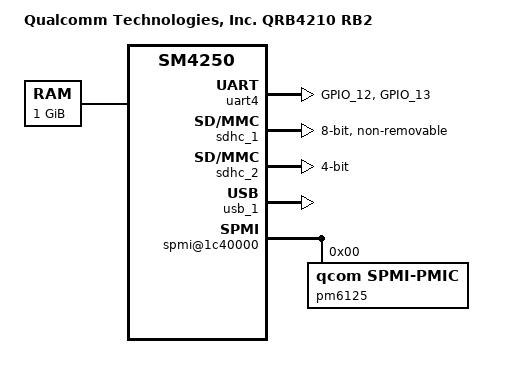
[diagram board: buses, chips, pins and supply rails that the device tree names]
// SPDX-License-Identifier: GPL-2.0+
/*
 * Qualcomm QRB4210-RB2 evaluation board device tree source
 *
 * (C) Copyright 2023 Bhupesh Sharma <bhupesh.sharma@linaro.org>
 */

/dts-v1/;

#include <dt-bindings/clock/qcom,gcc-sm6115.h>

/ {
	model = "Qualcomm Technologies, Inc. QRB4210 RB2";
	compatible = "qcom,qrb4210-rb2", "qcom,qrb4210", "qcom,sm4250";
	#address-cells = <2>;
	#size-cells = <2>;

	chosen {
		stdout-path = "serial0:115200n8";
	};

	aliases {
		serial0 = &uart4;
	};

	memory {
		device_type = "memory";
		reg = <0 0x80000000 0 0x40000000>;
	};

	soc {
		#address-cells = <1>;
		#size-cells = <1>;
		ranges = <0 0 0 0xffffffff>;
		compatible = "simple-bus";

		tlmm: pinctrl_west@500000 {
			compatible = "qcom,sm6115-tlmm";
			reg = <0x00500000 0x400000>;
			gpio-count = <114>;
			gpio-controller;
			#gpio-cells = <2>;
			gpio-ranges = <&tlmm 0 0 114>;

			/* DEBUG UART */
			debug_uart_on: debug_uart-default {
				pins = "GPIO_12", "GPIO_13";
				function = "qup4";
			};
		};

		gcc: clock-controller@1400000 {
			compatible = "qcom,gcc-sm6115";
			reg = <0x01400000 0x1f0000>;
			#clock-cells = <1>;
			#reset-cells = <1>;
			#power-domain-cells = <1>;
		};

		qupv3_id_0: geniqup@4ac0000 {
			compatible = "qcom,geni-se-qup";
			reg = <0x04ac0000 0x2000>;
			#address-cells = <1>;
			#size-cells = <1>;
			ranges;

			uart4: serial@4a90000 {
				compatible = "qcom,geni-debug-uart";
				reg = <0x04a90000 0x4000>;
				clock-names = "se";
				clocks = <&gcc GCC_QUPV3_WRAP0_S4_CLK>;
				pinctrl-names = "default";
				pinctrl-0 = <&debug_uart_on>;
			};
		};

		sdhc_1: mmc@4744000 {
			compatible = "qcom,sdhci-msm-v5";
			reg = <0x04744000 0x1000 0x04745000 0x1000>;
			clocks = <&gcc GCC_SDCC1_APPS_CLK>,
				 <&gcc GCC_SDCC1_AHB_CLK>;
			resets = <&gcc GCC_SDCC1_BCR>;

			bus-width = <8>;
			no-sd;
			no-sdio;
			non-removable;
		};

		sdhc_2: mmc@4784000 {
			compatible = "qcom,sdhci-msm-v5";
			reg = <0x04784000 0x1000>;
			clocks = <&gcc GCC_SDCC2_APPS_CLK>,
				 <&gcc GCC_SDCC2_AHB_CLK>;
			resets = <&gcc GCC_SDCC2_BCR>;

			bus-width = <4>;
			no-mmc;
			no-sdio;
		};

		usb_1_hsphy: phy@1613000 {
			compatible = "qcom,sm6115-qusb2-phy";
			reg = <0x01613000 0x180>;
			#phy-cells = <0>;

			clocks = <&gcc GCC_AHB2PHY_USB_CLK>;
			clock-names = "cfg_ahb";

			resets = <&gcc GCC_QUSB2PHY_PRIM_BCR>;
			reset-names = "phy";
		};

		usb_1: usb@4ef8800 {
			compatible = "qcom,sm6115-dwc3", "qcom,dwc3";
			reg = <0x04ef8800 0x400>;
			#address-cells = <1>;
			#size-cells = <1>;
			ranges;

			clocks = <&gcc GCC_CFG_NOC_USB3_PRIM_AXI_CLK>,
				 <&gcc GCC_USB30_PRIM_MASTER_CLK>,
				 <&gcc GCC_SYS_NOC_USB3_PRIM_AXI_CLK>,
				 <&gcc GCC_USB30_PRIM_SLEEP_CLK>,
				 <&gcc GCC_USB30_PRIM_MOCK_UTMI_CLK>,
				 <&gcc GCC_USB3_PRIM_CLKREF_CLK>;
			clock-names = "cfg_noc", "core", "iface", "sleep", "mock_utmi", "xo";

			assigned-clocks = <&gcc GCC_USB30_PRIM_MOCK_UTMI_CLK>,
					  <&gcc GCC_USB30_PRIM_MASTER_CLK>;
			assigned-clock-rates = <19200000>, <66666667>;

			resets = <&gcc GCC_USB30_PRIM_BCR>;
			power-domains = <&gcc GCC_USB30_PRIM_GDSC>;
			qcom,select-utmi-as-pipe-clk;

			usb_1_dwc3: usb@4e00000 {
				compatible = "snps,dwc3";
				reg = <0x04e00000 0xcd00>;
				phys = <&usb_1_hsphy>;
				phy-names = "usb2-phy";
				snps,dis_u2_susphy_quirk;
				snps,dis_enblslpm_quirk;
				snps,has-lpm-erratum;
				snps,hird-threshold = /bits/ 8 <0x10>;
				snps,usb3_lpm_capable;
				maximum-speed = "high-speed";
				dr_mode = "host";
			};
		};

		spmi@1c40000 {
			compatible = "qcom,spmi-pmic-arb";
			reg = <0x01c0a000 0x26000>,
			      <0x01c40000 0x1100>,
			      <0x03e00000 0x100000>;
			reg-names = "cnfg", "core", "obsrvr";
			#address-cells = <1>;
			#size-cells = <0>;

			pm6125: pm6125@0 {
				compatible = "qcom,spmi-pmic";
				reg = <0x0 0x1>;
				#address-cells = <1>;
				#size-cells = <0>;

				pm6125_gpios: pm6125_gpios@c000 {
					compatible = "qcom,pm6125-gpio";
					reg = <0xc000>;
					gpio-controller;
					gpio-count = <9>;
					#gpio-cells = <2>;
					gpio-bank-name="pmic";
				};
			};
		};
	};
};
